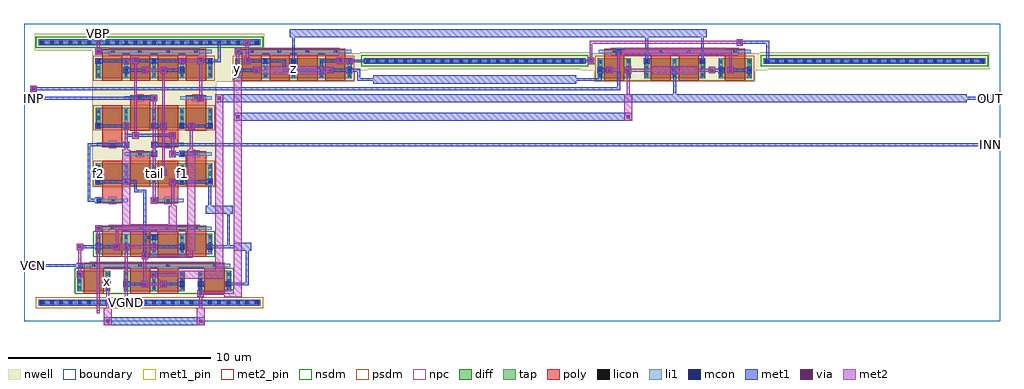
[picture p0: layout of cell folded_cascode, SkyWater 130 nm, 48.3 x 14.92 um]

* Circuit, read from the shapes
.subckt folded_cascode INN INP OUT VBN VBP VCN VCP VGND VPWR f1 f2 tail x y z
XM1 x VCN f1 VGND sky130_fd_pr__nfet_01v8 w=1 l=1 m=2
XM2 VGND VBN f1 VGND sky130_fd_pr__nfet_01v8 w=1 l=1 m=2
XM3 OUT VCN f2 VGND sky130_fd_pr__nfet_01v8 w=1 l=1 m=2
XM4 f2 VBN VGND VGND sky130_fd_pr__nfet_01v8 w=1 l=1 m=2
XM5 f2 VPWR f2 VPWR sky130_fd_pr__pfet_01v8 w=1 l=1 m=2
XM6 f1 VPWR f1 VPWR sky130_fd_pr__pfet_01v8 w=1 l=1 m=2
XM7 tail VBP VPWR VPWR sky130_fd_pr__pfet_01v8 w=1 l=1 m=4
XM8 tail INN f2 VPWR sky130_fd_pr__pfet_01v8 w=1 l=1 m=2
XM9 tail INP f1 VPWR sky130_fd_pr__pfet_01v8 w=1 l=1 m=2
XM10 VPWR x y VPWR sky130_fd_pr__pfet_01v8 w=1 l=1 m=2
XM11 z x VPWR VPWR sky130_fd_pr__pfet_01v8 w=1 l=1 m=2
XM12 x VCP y VPWR sky130_fd_pr__pfet_01v8 w=1 l=1 m=2
XM13 OUT VCP z VPWR sky130_fd_pr__pfet_01v8 w=1 l=1 m=2
.ends

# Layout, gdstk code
import gdstk
lib = gdstk.Library(unit=1e-6, precision=1e-09)
def R(c, l, rs):  # rectangles x0, y0, x1, y1
    for r in rs: c.add(gdstk.rectangle(r[:2], r[2:], *l))
def A(c, l, x, y, w, h, nx, ny, dx, dy):  # array of equal rectangles
    R(c, l, [(x+i*dx, y+j*dy, x+i*dx+w, y+j*dy+h) for i in range(nx) for j in range(ny)])
nwell = (64, 20)
diff = (65, 20)
tap = (65, 44)
poly = (66, 20)
licon = (66, 44)
li1 = (67, 20)
mcon = (67, 44)
met1_pin = (68, 16)
met1 = (68, 20)
via = (68, 44)
met2_pin = (69, 16)
met2 = (69, 20)
nsdm = (93, 44)
psdm = (94, 20)
npc = (95, 20)
boundary = (235, 4)

folded_cascode = lib.new_cell('folded_cascode')
R(folded_cascode, nwell, [(3.375,6.625,9.505,11.84), (3.375,11.84,16.405,12.41), (28.215,11.84,36.185,12.41), (3.375,12.41,17.032,12.46), (27.588,12.41,36.812,12.46), (3.375,12.46,47.765,13.2), (3.375,13.2,11.885,13.38), (16.008,13.2,28.612,13.25), (35.788,13.2,47.765,13.25), (16.635,13.25,27.985,13.3), (36.415,13.25,47.765,13.3), (0.535,13.38,11.885,14.22)])
R(folded_cascode, diff, [(2.635,1.485,4.265,2.485), (4.935,1.485,7.945,2.485), (8.615,1.485,10.245,2.485), (3.555,3.325,9.325,4.325), (3.555,6.805,9.325,7.805), (3.555,9.565,9.325,10.565), (3.555,12.02,9.325,13.02), (10.455,12.02,16.225,13.02), (28.395,12.02,30.025,13.02), (30.695,12.02,33.705,13.02), (34.375,12.02,36.005,13.02)])
R(folded_cascode, tap, [(0.715,0.775,11.705,1.065), (16.815,12.735,27.805,13.025), (36.595,12.735,47.585,13.025), (0.715,13.655,11.705,13.945)])
A(folded_cascode, poly, 3.87, 3.195, 1, 1.405, 4, 1, 1.38, 0)
A(folded_cascode, poly, 3.87, 11.89, 1, 1.45, 4, 1, 1.38, 0)
A(folded_cascode, poly, 10.77, 11.89, 1, 1.45, 4, 1, 1.38, 0)
R(folded_cascode, poly, [(2.95,1.355,3.95,2.76), (5.25,1.355,6.25,2.76), (6.63,1.355,7.63,2.76), (8.93,1.355,9.93,2.76), (2.95,2.625,9.93,2.895), (3.87,4.465,9.01,4.735), (3.87,5.845,4.87,6.115), (6.63,5.845,7.63,6.115), (3.87,5.98,4.87,7.935), (6.63,5.98,7.63,7.935), (5.25,6.675,6.25,8.28), (8.01,6.675,9.01,8.28), (5.25,8.145,6.25,8.415), (8.01,8.145,9.01,8.415), (3.87,8.605,4.87,8.875), (6.63,8.605,7.63,8.875), (3.87,8.74,4.87,10.695), (6.63,8.74,7.63,10.695), (5.25,9.435,6.25,11.04), (8.01,9.435,9.01,11.04), (5.25,10.905,6.25,11.175), (8.01,10.905,9.01,11.175), (28.71,11.89,29.71,13.34), (31.01,11.89,32.01,13.34), (32.39,11.89,33.39,13.34), (34.69,11.89,35.69,13.34), (3.87,13.205,9.01,13.475), (10.77,13.205,15.91,13.475), (28.71,13.205,35.69,13.475)])
A(folded_cascode, licon, 0.835, 0.835, 0.17, 0.17, 24, 2, 0.46, 12.88)
A(folded_cascode, licon, 2.675, 1.56, 0.17, 0.17, 1, 3, 0, 0.34)
A(folded_cascode, licon, 4.055, 1.56, 0.17, 0.17, 1, 3, 0, 0.34)
A(folded_cascode, licon, 4.975, 1.56, 0.17, 0.17, 3, 3, 1.38, 0.34)
A(folded_cascode, licon, 8.655, 1.56, 0.17, 0.17, 1, 3, 0, 0.34)
A(folded_cascode, licon, 10.035, 1.56, 0.17, 0.17, 1, 3, 0, 0.34)
A(folded_cascode, licon, 3.595, 3.4, 0.17, 0.17, 5, 3, 1.38, 0.34)
A(folded_cascode, licon, 4.285, 4.515, 0.17, 0.17, 4, 2, 1.38, 8.74)
A(folded_cascode, licon, 3.595, 6.88, 0.17, 0.17, 5, 3, 1.38, 0.34)
A(folded_cascode, licon, 3.595, 9.64, 0.17, 0.17, 5, 3, 1.38, 0.34)
A(folded_cascode, licon, 3.595, 12.095, 0.17, 0.17, 10, 3, 1.38, 0.34)
A(folded_cascode, licon, 28.435, 12.095, 0.17, 0.17, 1, 3, 0, 0.34)
A(folded_cascode, licon, 29.815, 12.095, 0.17, 0.17, 1, 3, 0, 0.34)
A(folded_cascode, licon, 30.735, 12.095, 0.17, 0.17, 3, 3, 1.38, 0.34)
A(folded_cascode, licon, 34.415, 12.095, 0.17, 0.17, 1, 3, 0, 0.34)
A(folded_cascode, licon, 35.795, 12.095, 0.17, 0.17, 1, 3, 0, 0.34)
A(folded_cascode, licon, 16.935, 12.795, 0.17, 0.17, 24, 1, 0.46, 0)
A(folded_cascode, licon, 36.715, 12.795, 0.17, 0.17, 24, 1, 0.46, 0)
A(folded_cascode, licon, 11.185, 13.255, 0.17, 0.17, 4, 1, 1.38, 0)
R(folded_cascode, licon, [(3.365,2.675,3.535,2.845), (5.665,2.675,5.835,2.845), (7.045,2.675,7.215,2.845), (9.345,2.675,9.515,2.845), (4.285,5.895,4.455,6.065), (7.045,5.895,7.215,6.065), (5.665,8.195,5.835,8.365), (8.425,8.195,8.595,8.365), (4.285,8.655,4.455,8.825), (7.045,8.655,7.215,8.825), (5.665,10.955,5.835,11.125), (8.425,10.955,8.595,11.125), (29.125,13.255,29.295,13.425), (31.425,13.255,31.595,13.425), (32.805,13.255,32.975,13.425), (35.105,13.255,35.275,13.425)])
A(folded_cascode, li1, 4.975, 1.48, 0.17, 1.01, 3, 1, 1.38, 0)
A(folded_cascode, li1, 3.595, 3.32, 0.17, 1.01, 5, 2, 1.38, 3.48)
A(folded_cascode, li1, 3.595, 9.56, 0.17, 1.01, 5, 1, 1.38, 0)
A(folded_cascode, li1, 3.595, 12.015, 0.17, 1.01, 10, 1, 1.38, 0)
A(folded_cascode, li1, 30.735, 12.015, 0.17, 1.01, 3, 1, 1.38, 0)
R(folded_cascode, li1, [(0.755,0.835,11.665,1.005), (2.675,1.48,2.845,2.49), (4.055,1.48,4.225,2.49), (8.655,1.48,8.825,2.49), (10.035,1.48,10.205,2.49), (2.675,2.675,10.205,2.845), (3.595,4.515,9.285,4.685), (3.595,5.895,5.145,6.065), (6.355,5.895,7.905,6.065), (4.975,8.195,6.525,8.365), (7.735,8.195,9.285,8.365), (3.595,8.655,5.145,8.825), (6.355,8.655,7.905,8.825), (4.975,10.955,6.525,11.125), (7.735,10.955,9.285,11.125), (28.435,12.015,28.605,13.025), (29.815,12.015,29.985,13.025), (34.415,12.015,34.585,13.025), (35.795,12.015,35.965,13.025), (16.855,12.795,27.765,12.965), (36.635,12.795,47.545,12.965), (3.595,13.255,9.285,13.425), (10.495,13.255,16.185,13.425), (28.435,13.255,35.965,13.425), (0.755,13.715,11.665,13.885)])
A(folded_cascode, mcon, 0.835, 0.835, 0.17, 0.17, 24, 2, 0.46, 12.88)
A(folded_cascode, mcon, 6.355, 2.215, 0.17, 0.17, 1, 3, 0, 1.84)
A(folded_cascode, mcon, 3.595, 9.575, 0.17, 0.17, 5, 1, 1.38, 0)
A(folded_cascode, mcon, 4.975, 12.335, 0.17, 0.17, 3, 1, 2.76, 0)
A(folded_cascode, mcon, 29.815, 12.335, 0.17, 0.17, 3, 1, 2.3, 0)
A(folded_cascode, mcon, 3.595, 12.795, 0.17, 0.17, 4, 1, 2.76, 0)
A(folded_cascode, mcon, 16.935, 12.795, 0.17, 0.17, 24, 1, 0.46, 0)
A(folded_cascode, mcon, 36.715, 12.795, 0.17, 0.17, 24, 1, 0.46, 0)
R(folded_cascode, mcon, [(4.055,1.755,4.225,1.925), (4.975,1.755,5.145,1.925), (7.735,1.755,7.905,1.925), (8.655,1.755,8.825,1.925), (10.035,1.755,10.205,1.925), (2.675,2.215,2.845,2.385), (2.675,2.675,2.845,2.845), (3.595,3.595,3.765,3.765), (4.975,3.595,5.145,3.765), (7.735,3.595,7.905,3.765), (9.115,3.595,9.285,3.765), (3.595,4.515,3.765,4.685), (3.595,5.895,3.765,6.065), (3.595,6.815,3.765,6.985), (4.975,6.815,5.145,6.985), (7.735,6.815,7.905,6.985), (9.115,6.815,9.285,6.985), (6.355,7.275,6.525,7.445), (6.355,8.195,6.525,8.365), (7.735,8.195,7.905,8.365), (4.975,8.655,5.145,8.825), (6.355,8.655,6.525,8.825), (6.355,10.955,6.525,11.125), (8.655,10.955,8.825,11.125), (14.635,12.335,14.805,12.505), (16.015,12.335,16.185,12.505), (28.435,12.335,28.605,12.505), (35.795,12.335,35.965,12.505), (13.255,12.795,13.425,12.965), (30.735,12.795,30.905,12.965), (33.495,12.795,33.665,12.965), (3.595,13.255,3.765,13.425), (10.495,13.255,10.665,13.425), (29.355,13.255,29.525,13.425)])
R(folded_cascode, met1_pin, [(4.99,0.85,5.13,0.99), (3.15,5.91,3.29,8.81)])
A(folded_cascode, met1, 6.295, 2.155, 0.29, 0.29, 1, 3, 0, 1.84)
A(folded_cascode, met1, 3.535, 9.515, 0.29, 0.29, 5, 1, 1.38, 0)
A(folded_cascode, met1, 4.915, 12.275, 0.29, 0.29, 3, 1, 2.76, 0)
A(folded_cascode, met1, 29.755, 12.275, 0.29, 0.29, 3, 1, 2.3, 0)
A(folded_cascode, met1, 3.535, 12.735, 0.29, 0.29, 4, 1, 2.76, 0)
R(folded_cascode, met1, [(3.94,-0.2,4.34,0.2), (3.94,-0.2,8.94,0.2), (8.54,-0.2,8.94,0.2), (4.9,0.76,5.22,1.08), (0.775,0.775,11.645,1.065), (4.99,0.85,5.13,0.99), (8.58,1.22,8.9,1.54), (8.67,1.31,8.81,1.91), (3.98,1.68,4.3,2), (5.82,1.68,6.14,2), (6.74,1.68,7.06,2), (3.995,1.695,4.285,1.985), (4.915,1.695,5.205,1.985), (7.675,1.695,7.965,1.985), (8.595,1.695,8.885,1.985), (9.975,1.695,10.265,1.985), (4.99,1.77,6.05,1.91), (6.83,1.77,7.89,1.91), (10.05,1.77,11.11,1.91), (10.97,1.77,11.11,3.75), (2.6,2.14,2.92,2.46), (6.28,2.14,6.6,2.46), (2.615,2.155,2.905,2.445), (0.3,2.6,0.62,2.92), (2.615,2.615,2.905,2.905), (0.39,2.69,2.83,2.83), (5.82,3.06,6.14,3.38), (5.91,3.15,6.05,4.21), (10.38,3.48,11.24,3.88), (2.6,3.52,2.92,3.84), (4.44,3.52,4.76,3.84), (4.9,3.52,5.22,3.84), (6.28,3.52,6.6,3.84), (3.535,3.535,3.825,3.825), (4.915,3.535,5.205,3.825), (7.675,3.535,7.965,3.825), (9.055,3.535,9.345,3.825), (2.69,3.61,3.75,3.75), (3.61,3.61,4.67,3.75), (6.37,3.61,7.89,3.75), (9.13,3.61,10.19,3.75), (10.05,3.61,10.65,3.75), (10.05,3.61,10.19,5.59), (5.91,4.07,6.51,4.21), (5.91,4.07,6.05,6.51), (3.52,4.44,3.84,4.76), (3.535,4.455,3.825,4.745), (9,5.32,10.32,5.72), (9.13,5.45,9.27,6.97), (6.28,5.82,6.6,6.14), (3.535,5.835,3.825,6.125), (3.15,5.91,3.29,8.81), (3.15,5.91,3.75,6.05), (5.45,6.37,6.05,6.51), (5.45,6.37,5.59,6.97), (7.2,6.74,7.52,7.06), (3.535,6.755,3.825,7.045), (4.915,6.755,5.205,7.045), (7.675,6.755,7.965,7.045), (9.055,6.755,9.345,7.045), (3.61,6.83,5.13,6.97), (4.99,6.83,5.59,6.97), (7.29,6.83,7.89,6.97), (7.75,6.83,9.27,6.97), (6.74,7.2,7.06,7.52), (6.295,7.215,6.585,7.505), (6.37,7.29,6.97,7.43), (7.2,8.12,7.52,8.44), (6.295,8.135,6.585,8.425), (7.675,8.135,7.965,8.425), (6.37,8.21,6.51,8.81), (7.29,8.21,7.89,8.35), (47.68,8.58,48,8.9), (4.915,8.595,5.205,8.885), (6.295,8.595,6.585,8.885), (3.15,8.67,5.13,8.81), (4.99,8.67,5.13,9.27), (6.37,8.67,47.91,8.81), (5.36,9.04,5.68,9.36), (7.2,9.04,7.52,9.36), (4.99,9.13,5.59,9.27), (5.45,9.13,7.43,9.27), (4.9,9.5,5.22,9.82), (6.74,9.5,7.06,9.82), (8.12,9.5,8.44,9.82), (3.61,9.59,5.13,9.73), (6.37,9.59,6.97,9.73), (7.75,9.59,8.35,9.73), (8.21,9.59,9.27,9.73), (10.38,9.92,30.1,10.32), (10.38,9.92,10.78,10.32), (29.7,9.92,30.1,10.32), (9.46,10.84,32.4,11.24), (9.46,10.84,9.86,11.24), (32,10.84,46.66,11.24), (0.3,10.88,0.62,11.2), (6.28,10.88,6.6,11.2), (8.58,10.88,8.9,11.2), (47.68,10.88,48,11.2), (6.295,10.895,6.585,11.185), (8.595,10.895,8.885,11.185), (0.39,10.97,6.51,11.11), (32.13,10.97,32.27,12.49), (46.39,10.97,47.91,11.11), (0.3,11.34,0.62,11.66), (0.39,11.43,29.51,11.57), (29.37,11.43,29.51,13.41), (17.28,11.76,27.34,12.16), (16.49,11.89,16.63,12.49), (16.49,11.89,17.55,12.03), (27.07,11.89,28.59,12.03), (28.45,11.89,28.59,12.49), (5.82,12.26,6.14,12.58), (6.74,12.26,7.06,12.58), (11.34,12.26,11.66,12.58), (15.02,12.26,15.34,12.58), (28.82,12.26,29.14,12.58), (29.74,12.26,30.06,12.58), (33.88,12.26,34.2,12.58), (34.8,12.26,35.12,12.58), (14.575,12.275,14.865,12.565), (15.955,12.275,16.245,12.565), (28.375,12.275,28.665,12.565), (35.735,12.275,36.025,12.565), (4.99,12.35,6.05,12.49), (6.83,12.35,7.89,12.49), (10.51,12.35,11.57,12.49), (12.81,12.35,12.95,12.95), (12.81,12.35,14.79,12.49), (14.65,12.35,14.79,12.95), (15.11,12.35,16.17,12.49), (16.03,12.35,16.63,12.49), (28.45,12.35,29.05,12.49), (33.97,12.35,34.57,12.49), (34.89,12.35,35.95,12.49), (4.9,12.72,5.22,13.04), (5.36,12.72,5.68,13.04), (7.66,12.72,7.98,13.04), (8.58,12.72,8.9,13.04), (10.88,12.72,11.2,13.04), (15.48,12.72,15.8,13.04), (15.94,12.72,16.26,13.04), (27.9,12.72,28.22,13.04), (13.195,12.735,13.485,13.025), (16.875,12.735,27.745,13.025), (30.675,12.735,30.965,13.025), (33.435,12.735,33.725,13.025), (36.655,12.735,47.525,13.025), (3.61,12.81,5.13,12.95), (5.45,12.81,6.51,12.95), (6.37,12.81,7.89,12.95), (8.67,12.81,9.27,12.95), (9.13,12.81,9.73,12.95), (9.59,12.81,9.73,13.87), (10.97,12.81,12.03,12.95), (11.89,12.81,12.95,12.95), (13.27,12.81,13.41,14.33), (14.65,12.81,15.71,12.95), (16.03,12.81,17.09,12.95), (16.95,12.81,28.13,12.95), (16.95,12.81,17.09,12.95), (30.75,12.81,30.89,14.33), (33.51,12.81,33.65,14.33), (36.73,12.81,36.87,12.95), (36.73,12.81,36.87,13.87), (3.52,13.18,3.84,13.5), (10.42,13.18,10.74,13.5), (3.535,13.195,3.825,13.485), (10.435,13.195,10.725,13.485), (29.295,13.195,29.585,13.485), (10.88,13.64,11.2,13.96), (35.26,13.64,35.58,13.96), (0.775,13.655,11.645,13.945), (9.59,13.73,11.11,13.87), (10.97,13.73,11.11,13.87), (35.35,13.73,36.87,13.87), (13.14,14.06,31.02,14.46), (30.62,14.06,33.78,14.46)])
R(folded_cascode, via, [(4.065,-0.075,4.215,0.075), (8.665,-0.075,8.815,0.075), (4.985,0.845,5.135,0.995), (8.665,1.305,8.815,1.455), (4.065,1.765,4.215,1.915), (5.905,1.765,6.055,1.915), (6.825,1.765,6.975,1.915), (2.685,2.225,2.835,2.375), (6.365,2.225,6.515,2.375), (0.385,2.685,0.535,2.835), (5.905,3.145,6.055,3.295), (2.685,3.605,2.835,3.755), (4.525,3.605,4.675,3.755), (4.985,3.605,5.135,3.755), (6.365,3.605,6.515,3.755), (3.605,4.525,3.755,4.675), (6.365,5.905,6.515,6.055), (7.285,6.825,7.435,6.975), (6.825,7.285,6.975,7.435), (7.285,8.205,7.435,8.355), (47.765,8.665,47.915,8.815), (5.445,9.125,5.595,9.275), (7.285,9.125,7.435,9.275), (4.985,9.585,5.135,9.735), (6.825,9.585,6.975,9.735), (8.205,9.585,8.355,9.735), (10.505,10.045,10.655,10.195), (29.825,10.045,29.975,10.195), (0.385,10.965,0.535,11.115), (6.365,10.965,6.515,11.115), (8.665,10.965,8.815,11.115), (9.585,10.965,9.735,11.115), (47.765,10.965,47.915,11.115), (0.385,11.425,0.535,11.575), (5.905,12.345,6.055,12.495), (6.825,12.345,6.975,12.495), (11.425,12.345,11.575,12.495), (15.105,12.345,15.255,12.495), (28.905,12.345,29.055,12.495), (29.825,12.345,29.975,12.495), (33.965,12.345,34.115,12.495), (34.885,12.345,35.035,12.495), (4.985,12.805,5.135,12.955), (5.445,12.805,5.595,12.955), (7.745,12.805,7.895,12.955), (8.665,12.805,8.815,12.955), (10.965,12.805,11.115,12.955), (15.565,12.805,15.715,12.955), (16.025,12.805,16.175,12.955), (27.985,12.805,28.135,12.955), (3.605,13.265,3.755,13.415), (10.505,13.265,10.655,13.415), (10.965,13.725,11.115,13.875), (35.345,13.725,35.495,13.875)])
R(folded_cascode, met2_pin, [(3.61,0.39,3.75,0.53), (0.31,2.61,0.61,2.91), (47.69,8.59,47.99,8.89), (0.31,10.89,0.61,11.19), (47.69,10.89,47.99,11.19), (0.31,11.35,0.61,11.65), (3.53,14.11,3.83,14.41)])
R(folded_cascode, met2, [(3.94,-0.2,4.34,0.2), (3.94,-0.2,4.34,0.66), (8.54,-0.2,8.94,0.2), (8.54,-0.2,8.94,0.66), (3.61,0.39,3.75,0.53), (3.61,0.39,3.75,4.67), (4.07,0.39,4.21,1.91), (8.67,0.39,8.81,1.45), (4.9,0.76,5.22,1.08), (4.99,0.85,5.13,3.75), (9.92,1.18,10.78,1.58), (10.38,1.18,10.78,12.16), (8.58,1.22,8.9,1.54), (8.67,1.31,10.19,1.45), (3.98,1.68,4.3,2), (5.82,1.68,6.14,2), (6.74,1.68,7.06,2), (5.91,1.77,6.05,3.29), (5.91,1.77,6.97,1.91), (7.62,2.1,9.86,2.5), (9.46,2.1,9.86,11.24), (2.6,2.14,2.92,2.46), (6.28,2.14,6.6,2.46), (2.69,2.23,2.83,3.75), (6.37,2.23,7.89,2.37), (0.3,2.6,0.62,2.92), (0.31,2.61,0.61,2.91), (0.39,2.69,0.53,2.83), (5.82,3.06,6.14,3.38), (5.91,3.15,8.35,3.29), (8.21,3.15,8.35,3.75), (8.08,3.48,8.48,8.48), (2.6,3.52,2.92,3.84), (4.44,3.52,4.76,3.84), (4.9,3.52,5.22,3.84), (6.28,3.52,6.6,3.84), (4.53,3.61,4.67,4.67), (4.99,3.61,6.51,3.75), (4.86,4.4,5.26,8.48), (4.86,4.4,7.56,4.8), (7.16,4.4,7.56,5.72), (3.52,4.44,3.84,4.76), (4.53,4.53,5.13,4.67), (7.29,5.45,7.43,6.97), (6.28,5.82,6.6,6.14), (6.37,5.91,6.51,11.11), (7.2,6.74,7.52,7.06), (6.74,7.2,7.06,7.52), (6.83,7.29,6.97,9.73), (7.2,8.12,7.52,8.44), (4.99,8.21,5.13,9.73), (7.29,8.21,7.43,9.27), (8.21,8.21,8.35,9.73), (47.68,8.58,48,8.9), (47.69,8.59,47.99,8.89), (47.77,8.67,47.91,8.81), (5.36,9.04,5.68,9.36), (7.2,9.04,7.52,9.36), (5.45,9.13,5.59,12.95), (4.9,9.5,5.22,9.82), (6.74,9.5,7.06,9.82), (8.12,9.5,8.44,9.82), (6.83,9.59,6.97,12.49), (10.38,9.92,10.78,10.32), (29.7,9.92,30.1,10.32), (29.7,9.92,30.1,11.24), (9.46,10.84,9.86,11.24), (0.3,10.88,0.62,11.2), (6.28,10.88,6.6,11.2), (8.58,10.88,8.9,11.2), (47.68,10.88,48,11.2), (0.31,10.89,0.61,11.19), (47.69,10.89,47.99,11.19), (0.39,10.97,0.53,11.11), (8.67,10.97,8.81,12.95), (29.83,10.97,29.97,12.49), (47.77,10.97,47.91,11.11), (0.3,11.34,0.62,11.66), (0.31,11.35,0.61,11.65), (0.39,11.43,0.53,11.57), (10.51,11.89,10.65,13.41), (11.76,12.22,14.92,12.62), (31.08,12.22,33.32,12.62), (5.82,12.26,6.14,12.58), (6.74,12.26,7.06,12.58), (11.34,12.26,11.66,12.58), (11.66,12.26,11.76,12.58), (14.92,12.26,15.02,12.58), (15.02,12.26,15.34,12.58), (28.82,12.26,29.14,12.58), (29.74,12.26,30.06,12.58), (33.88,12.26,34.2,12.58), (34.8,12.26,35.12,12.58), (5.91,12.35,6.97,12.49), (11.43,12.35,12.03,12.49), (14.65,12.35,15.25,12.49), (28.91,12.35,29.51,12.49), (29.37,12.35,29.51,13.41), (29.83,12.35,31.35,12.49), (33.05,12.35,34.11,12.49), (34.89,12.35,35.03,13.41), (4.9,12.72,5.22,13.04), (5.36,12.72,5.68,13.04), (7.66,12.72,7.98,13.04), (8.58,12.72,8.9,13.04), (10.88,12.72,11.2,13.04), (15.48,12.72,15.8,13.04), (15.94,12.72,16.26,13.04), (27.9,12.72,28.22,13.04), (4.99,12.81,5.59,12.95), (7.75,12.81,8.81,12.95), (10.97,12.81,11.11,13.87), (15.57,12.81,16.17,12.95), (27.99,12.81,28.13,13.87), (29.7,13.14,34.7,13.54), (3.52,13.18,3.84,13.5), (10.42,13.18,10.74,13.5), (3.61,13.27,3.75,14.33), (29.37,13.27,29.97,13.41), (34.43,13.27,35.03,13.41), (10.88,13.64,11.2,13.96), (35.26,13.64,35.58,13.96), (27.99,13.73,35.49,13.87), (3.53,14.11,3.83,14.41), (3.61,14.19,3.75,14.33)])
R(folded_cascode, nsdm, [(2.51,1.36,10.37,2.61), (3.43,3.2,9.45,4.45), (16.69,12.61,27.93,13.15), (36.47,12.61,47.71,13.15), (0.59,13.53,11.83,14.07)])
R(folded_cascode, psdm, [(0.59,0.65,11.83,1.19), (3.43,6.68,9.45,7.93), (3.43,9.44,9.45,10.69), (3.43,11.895,9.45,13.145), (10.33,11.895,16.35,13.145), (28.27,11.895,36.13,13.145)])
R(folded_cascode, npc, [(3.265,2.575,9.615,2.945), (4.185,4.415,8.695,4.785), (4.185,5.795,4.555,6.165), (6.945,5.795,7.315,6.165), (5.565,8.095,5.935,8.465), (8.325,8.095,8.695,8.465), (4.185,8.555,4.555,8.925), (6.945,8.555,7.315,8.925), (5.565,10.855,5.935,11.225), (8.325,10.855,8.695,11.225), (4.185,13.155,8.695,13.525), (11.085,13.155,15.595,13.525), (29.025,13.155,35.375,13.525)])
R(folded_cascode, boundary, [(0,0,48.3,14.72)])
folded_cascode.add(gdstk.Label('f2', (3.68,7.305), layer=67, texttype=5))
folded_cascode.add(gdstk.Label('tail', (6.44,7.305), layer=67, texttype=5))
folded_cascode.add(gdstk.Label('f1', (7.82,7.305), layer=67, texttype=5))
folded_cascode.add(gdstk.Label('x', (4.14,1.985), layer=67, texttype=5))
folded_cascode.add(gdstk.Label('y', (10.58,12.52), layer=67, texttype=5))
folded_cascode.add(gdstk.Label('z', (13.34,12.52), layer=67, texttype=5))
folded_cascode.add(gdstk.Label('VPWR', (3.22,7.36), layer=68, texttype=5))
folded_cascode.add(gdstk.Label('VGND', (5.06,0.92), layer=68, texttype=5))
folded_cascode.add(gdstk.Label('INP', (0.46,11.04), layer=69, texttype=5))
folded_cascode.add(gdstk.Label('INN', (47.84,8.74), layer=69, texttype=5))
folded_cascode.add(gdstk.Label('VBP', (3.68,14.26), layer=69, texttype=5))
folded_cascode.add(gdstk.Label('VBN', (3.68,0.46), layer=69, texttype=5))
folded_cascode.add(gdstk.Label('VCN', (0.46,2.76), layer=69, texttype=5))
folded_cascode.add(gdstk.Label('VCP', (0.46,11.5), layer=69, texttype=5))
folded_cascode.add(gdstk.Label('OUT', (47.84,11.04), layer=69, texttype=5))
folded_cascode.add(gdstk.Label('VPWR', (3.22,7.36), layer=68, texttype=16))
folded_cascode.add(gdstk.Label('VGND', (5.06,0.92), layer=68, texttype=16))
folded_cascode.add(gdstk.Label('INP', (0.46,11.04), layer=69, texttype=16))
folded_cascode.add(gdstk.Label('INN', (47.84,8.74), layer=69, texttype=16))
folded_cascode.add(gdstk.Label('VBP', (3.68,14.26), layer=69, texttype=16))
folded_cascode.add(gdstk.Label('VBN', (3.68,0.46), layer=69, texttype=16))
folded_cascode.add(gdstk.Label('VCN', (0.46,2.76), layer=69, texttype=16))
folded_cascode.add(gdstk.Label('VCP', (0.46,11.5), layer=69, texttype=16))
folded_cascode.add(gdstk.Label('OUT', (47.84,11.04), layer=69, texttype=16))

lib.write_gds('folded_cascode.gds')
